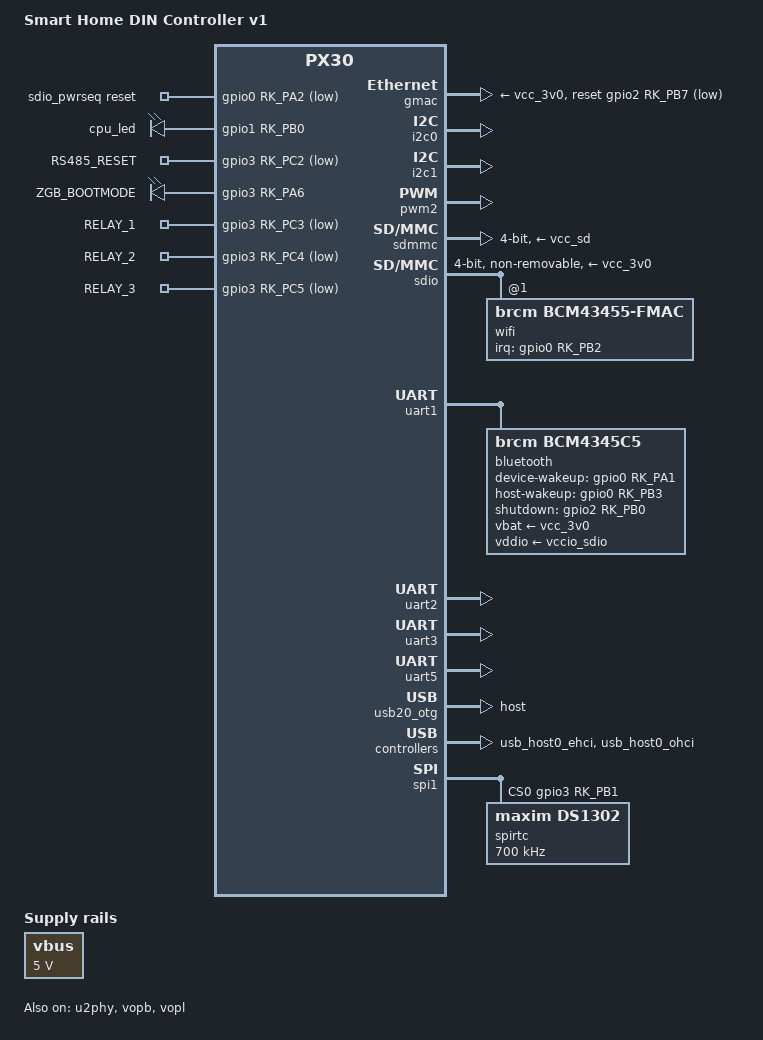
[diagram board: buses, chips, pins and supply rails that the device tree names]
/*
 * Copyright (c) 2024 InMys
 */
 
/*
 SH_PX30_DIN_CNTRL_V1.pdf + SOM_PX30_V1.pdf
*/

/dts-v1/;
#include <dt-bindings/gpio/gpio.h>
#include <dt-bindings/pinctrl/rockchip.h>
#include <dt-bindings/input/input.h>
#include "px30-inmys-som-hh.dtsi"

/ {
	model = "Smart Home DIN Controller v1";
	compatible = "inmys,px30-sh-din_cntrl_v1", "rockchip,px30";

	chosen {
		stdout-path = "serial3:115200n8";
	};
	aliases {
		ethernet0 = &gmac;
		rtc0 = &spirtc;
		rtc1 = &rk817;

		mmc0 = &sdmmc; // sdcard
		mmc1 = &sdio;  // wifi
		mmc2 = &emmc;
	};

	/* SH_PX30_DIN_CNTRL pwr */
	vbus: vbusv {
		compatible = "regulator-fixed";
		regulator-name = "vbus";
		regulator-always-on;
		regulator-boot-on;
		regulator-min-microvolt = <5000000>;
		regulator-max-microvolt = <5000000>;
	};

	sdio_pwrseq: sdio-pwrseq {
		compatible = "mmc-pwrseq-simple";
		clocks = <&rk817 1>;
		clock-names = "ext_clock";
		pinctrl-names = "default";
		pinctrl-0 = <&wifi_enable_h>;

		/*
		 * On the module itself this is one of these (depending
		 * on the actual card populated):
		 * - SDIO_RESET_L_WL_REG_ON
		 * - PDN (power down when low)
		 */
		reset-gpios = <&gpio0 RK_PA2 GPIO_ACTIVE_LOW>;
		post-power-on-delay-ms = <10>;
	};

	leds{
		compatible = "gpio-leds";
		pinctrl-names = "default";
		pinctrl-0 = <&led_gpio &zgb_reset_pin>;
		cpu_led {
			label = "cpu_led";
			gpios = <&gpio1 RK_PB0 GPIO_ACTIVE_HIGH>;
			linux,default-trigger = "heartbeat";
		};
		RS485_RESET { // ch342f_reset in sch
			gpios = <&gpio3 RK_PC2 GPIO_ACTIVE_LOW>;
			default-state = "off";
		};

		ZGB_BOOTMODE { // CPU_BOOTMODE in sch
			gpios = <&gpio3 RK_PA6 GPIO_ACTIVE_HIGH>;
			default-state = "on";
		};
#if 0
		/* disabled, confict with openocd(use gpio) */
		ZGB_RESET {
			gpios = <&gpio3 RK_PD3 GPIO_ACTIVE_LOW>;
			default-state = "off";
		};
#endif


		RELAY_1 {
			gpios = <&gpio3 RK_PC3 GPIO_ACTIVE_LOW>;
			default-state = "keep";
		};
		RELAY_2 {
			gpios = <&gpio3 RK_PC4 GPIO_ACTIVE_LOW>;
			default-state = "keep";
		};
		RELAY_3 {
			gpios = <&gpio3 RK_PC5 GPIO_ACTIVE_LOW>;
			default-state = "keep";
		};
	};
};


&gmac {
	status = "okay";
	
	phy-supply = <&vcc_3v0>;
	clock_in_out = "output";
	snps,reset-gpio = <&gpio2 RK_PB7 GPIO_ACTIVE_LOW>;
	snps,reset-active-low;
	snps,reset-delays-us = <0 50000 50000>;
	status = "okay";

	tx_delay = <0x30>;
	rx_delay = <0x10>;
#if 0
	phy-handle = <&yt8512>;
	yt8512: ethernet-phy@0{
		reg = <0>;
		reset-assert-us = <50000>;
		reset-deassert-us = <50000>;
		reset-gpios = <&gpio2 RK_PB7 GPIO_ACTIVE_LOW>;
		compatible = "ethernet-phy-ieee802.3-c22";
	};
#endif
};

&i2c0 {
	status = "okay";
};

&i2c1 {
	status = "okay";
};

&pwm2 {
	status = "okay";
};


/* sdcard */
&sdmmc {
	bus-width = <4>;
	cap-mmc-highspeed;
	cap-sd-highspeed;
	supports-sd;
	card-detect-delay = <800>;
	ignore-pm-notify;
	/*cd-gpios = <&gpio2 4 GPIO_ACTIVE_HIGH>; [> CD GPIO <]*/
	sd-uhs-sdr12;
	sd-uhs-sdr25;
	sd-uhs-sdr50;
	sd-uhs-sdr104;
	vmmc-supply = <&vcc_sd>;
	vqmmc-supply = <&vcc_3v0>;
	status = "okay";
};

/* wifi */
&sdio {
	#address-cells = <1>;
	#size-cells = <0>;
	bus-width = <4>;
	disable-wp;
	cap-sd-highspeed;
	cap-sdio-irq;
	keep-power-in-suspend;
	mmc-pwrseq = <&sdio_pwrseq>;
	non-removable;
	//pinctrl-names = "default";
	//pinctrl-0 = <&sdio_bus4 &sdio_cmd &sdio_clk>;
	sd-uhs-sdr104;
	vmmc-supply = <&vcc_3v0>;
	vqmmc-supply = <&vccio_sdio>;
	status = "okay";
	wifi@1 {
		compatible = "brcm,bcm43455-fmac";
		reg = <1>;
		interrupt-parent = <&gpio0>;
		interrupts = <RK_PB2 IRQ_TYPE_LEVEL_HIGH>;
		interrupt-names = "host-wake";
		//pinctrl-names = "default";
		//pinctrl-0 = <&wifi_host_wake_h>;
	};
};


#if 0
// conflict with wifi/bluetooth wakeup
&uart0 {
	pinctrl-names = "default";
	pinctrl-0 = <&uart0_xfer>;
	status = "okay";
};
#endif

&uart1 {
	/*bluetooth*/
	pinctrl-names = "default";
	pinctrl-0 = <&uart1_xfer &uart1_cts &uart1_rts>;
	status = "okay";

	bluetooth {
		compatible = "brcm,bcm4345c5";
		clocks = <&rk817 1>;
		clock-names = "lpo";
		device-wakeup-gpios = <&gpio0 RK_PA1 GPIO_ACTIVE_HIGH>; //HOST_WAKE_BT_H
		host-wakeup-gpios = <&gpio0 RK_PB3 GPIO_ACTIVE_HIGH>; //BT_WAKE_HOST_H
		//reset-gpios = <&gpio2 RK_PB0 GPIO_ACTIVE_HIGH>; //BT_REG_ON_H
		shutdown-gpios = <&gpio2 RK_PB0 GPIO_ACTIVE_HIGH>; //BT_REG_ON_H
		vbat-supply = <&vcc_3v0>;
		vddio-supply = <&vccio_sdio>;
		/*max-speed = <115200>;*/
	};
};

&uart2 {
	/* RS232 */
	pinctrl-names = "default";
	pinctrl-0 = <&uart2m1_xfer>;
	status = "okay";
};

&uart3{
	/* console */
        pinctrl-names = "default";
        pinctrl-0 = <&uart3m1_xfer>;
        status = "okay";
};

&uart5 {
	/*zigbee*/
	status = "okay";
	pinctrl-names = "default";
	pinctrl-0 = <&uart5_xfer>;
};


#define USB_CONNECTOR_IS_HOST 1
&u2phy {
	status = "okay";
#if USB_CONNECTOR_IS_HOST
	u2phy_host: host-port {
		status = "okay";
	};
#else
	u2phy_otg: otg-port {
		status = "okay";
	};
#endif
};

&usb20_otg {
	status = "okay";
#if USB_CONNECTOR_IS_HOST
	dr_mode = "host";
#endif
};

#if 1
&usb_host0_ehci {
	status = "okay";
};

&usb_host0_ohci {
	status = "okay";
};
#endif

&vopb {
	status = "okay";
};

&vopb_mmu {
	status = "okay";
};

&vopl {
	status = "okay";
};

&vopl_mmu {
	status = "okay";
};

#if 0
&mpp_srv {
	status = "okay";
};

&vdpu {
	status = "okay";
};

&vepu {
	status = "okay";
};

&vpu_mmu {
	status = "okay";
};

&hevc {
	status = "okay";
};

&hevc_mmu {
	status = "okay";
};
#endif

&gpio0 {
	gpio-line-names = 
		"","HOST_WAKE_BT","WIFI_REG_ON","","SDMMC0_DET","","","",
		"","","WIFI_WAKE_HOST","BT_WAKE_HOST","","DIG_IN4","","DIG_IN3",
		"DIG_IN2","DIG_IN1","","","","","","",
		"","","","","","","","";
};

&gpio2 {
	gpio-line-names =
		"","","","","","","","",
		"BT_REG_ON","","","","","","","",
		"","","","","","","","",
		"","","","","","","","";
};

&gpio3 {
	gpio-line-names = 
		"","","","","EXT_SIGNAL","","CPU_BOOTMODE","",
		"","","","","","","","",
		"","","ch342f_reset","RELAY_1","RELAY_2","RELAY_3","","JTAG_TDI",
		"JTAG_TDO","TCK","TMS","ZGB_RST","","","","";
};

&spi1{
	status = "okay";
	pinctrl-names = "default", "high_speed";
	//pinctrl-0 = <&spi1_clk &spi1_csn0 &spi1_miso &spi1_mosi>;
	//pinctrl-1 = <&spi1_clk_hs &spi1_csn0 &spi1_miso_hs &spi1_mosi_hs>;
	pinctrl-0 = <&spi1_clk &spi1_miso &spi1_mosi>;
	pinctrl-1 = <&spi1_clk_hs &spi1_miso_hs &spi1_mosi_hs>;
	num-cs = <1>;
	cs-gpios = <&gpio3 RK_PB1 GPIO_ACTIVE_HIGH>;
#if 1
	spirtc: spirtc@0 {
		compatible = "maxim,ds1302";
		reg = <0>;
		spi-max-frequency = <700000>;
		/*spi-3wire;*/
		spi-lsb-first;
		spi-cs-high;
	};
#else
	spidev@0{
		/* compatible = "linux,spidev"; */
		compatible = "rohm,dh2228fv";
		reg = <0>;
		spi-max-frequency = <700000>;
		/*spi-3wire;*/
		spi-lsb-first;
		spi-cs-high;
	};
#endif
};


&pinctrl {
	sdio-pwrseq {
		wifi_enable_h: wifi-enable-h {
			rockchip,pins = 
				<0 RK_PA2 RK_FUNC_GPIO &pcfg_pull_none>;
		};
	};
	wlan {
		wifi_host_wake: wifi-host-wake{
			rockchip,pins =
				<0 RK_PB2 RK_FUNC_GPIO &pcfg_pull_up>;
		};
	};
	led{
		zgb_reset_pin: zgb-reset-pin{
			rockchip,pins =
				<3 RK_PD3 RK_FUNC_GPIO &pcfg_pull_up>; // pull_up => no reset on zgb

		};
	};
};

/* DON'T PUT ANYTHING BELOW HERE.  PUT IT ABOVE PINCTRL */
/* DON'T PUT ANYTHING BELOW HERE.  PUT IT ABOVE PINCTRL */
/* DON'T PUT ANYTHING BELOW HERE.  PUT IT ABOVE PINCTRL */
